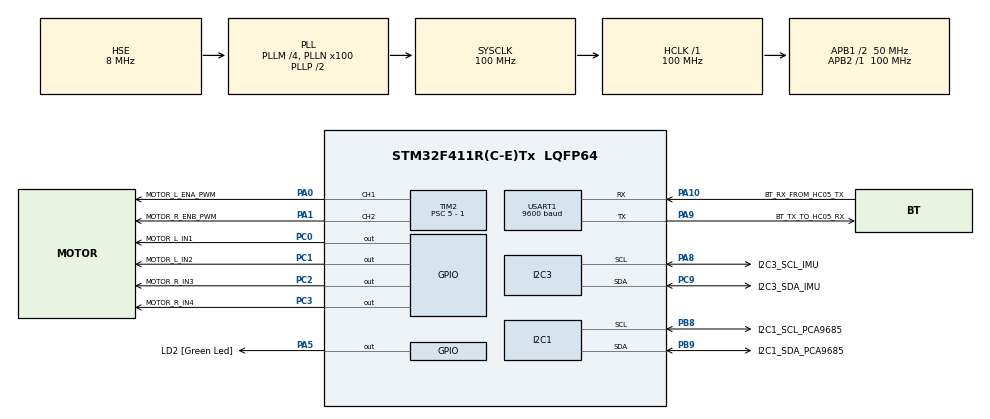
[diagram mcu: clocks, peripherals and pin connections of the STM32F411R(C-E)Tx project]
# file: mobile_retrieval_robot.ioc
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Dma.Request0=USART1_RX
Dma.USART1_RX.0.Direction=DMA_PERIPH_TO_MEMORY
Dma.USART1_RX.0.FIFOMode=DMA_FIFOMODE_DISABLE
Dma.USART1_RX.0.Instance=DMA2_Stream2
Dma.USART1_RX.0.MemDataAlignment=DMA_MDATAALIGN_BYTE
Dma.USART1_RX.0.MemInc=DMA_MINC_ENABLE
Dma.USART1_RX.0.Mode=DMA_CIRCULAR
Dma.USART1_RX.0.PeriphDataAlignment=DMA_PDATAALIGN_BYTE
Dma.USART1_RX.0.PeriphInc=DMA_PINC_DISABLE
Dma.USART1_RX.0.Priority=DMA_PRIORITY_MEDIUM
FREERTOS.Mutexes01=i2cMutex,Dynamic,NULL,Available;imuI2cMutex,Dynamic,NULL,Available;flashMutex,Dynamic,NULL,Available
FREERTOS.Queues01=armQueue,8,BluetoothArmCommand,0,Dynamic,NULL,NULL;driveQueue,4,BluetoothDriveCommand,0,Dynamic,NULL,NULL
FREERTOS.Tasks01=bluetoothTask,32,384,StartBluetoothTask,Default,NULL,Dynamic,NULL,NULL;armTask,24,384,StartArmTask,Default,NULL,Dynamic,NULL,NULL;driveTask,40,256,StartDriveTask,Default,NULL,Dynamic,NULL,NULL
FREERTOS.configTOTAL_HEAP_SIZE=17408
FREERTOS.configUSE_MALLOC_FAILED_HOOK=1
Mcu.Family=STM32F4
Mcu.Name=STM32F411R(C-E)Tx
Mcu.Package=LQFP64
NVIC.DMA2_Stream2_IRQn=true\:5\:0\:true\:false\:true\:true\:false\:true\:true
NVIC.PriorityGroup=NVIC_PRIORITYGROUP_4
NVIC.TIM1_UP_TIM10_IRQn=true\:15\:0\:false\:false\:true\:false\:false\:true\:true
NVIC.TimeBase=TIM1_UP_TIM10_IRQn
NVIC.TimeBaseIP=TIM10
NVIC.USART1_IRQn=true\:5\:0\:false\:false\:true\:true\:true\:true\:true
PA10.Mode=Asynchronous
PA10.Signal=USART1_RX
PA13.GPIO_Label=TMS
PA13.Mode=Serial_Wire
PA13.Signal=SYS_JTMS-SWDIO
PA14.GPIO_Label=TCK
PA14.Mode=Serial_Wire
PA14.Signal=SYS_JTCK-SWCLK
PA5.GPIO_Label=LD2 [Green Led]
PA5.Signal=GPIO_Output
PA8.GPIO_Label=I2C3_SCL_IMU
PA8.GPIO_PuPd=GPIO_PULLUP
PA8.Mode=I2C
PA8.Signal=I2C3_SCL
PA0-WKUP.GPIO_Label=MOTOR_L_ENA_PWM
PA0-WKUP.Signal=S_TIM2_CH1_ETR
PA1.GPIO_Label=MOTOR_R_ENB_PWM
PA1.Signal=S_TIM2_CH2
PA9.GPIO_Label=BT_TX_TO_HC05_RX
PA9.Mode=Asynchronous
PA9.Signal=USART1_TX
PA10.GPIO_Label=BT_RX_FROM_HC05_TX
PB3.GPIO_Label=SWO
PB3.Signal=SYS_JTDO-SWO
PB8.GPIO_Label=I2C1_SCL_PCA9685
PB8.Mode=I2C
PB8.Signal=I2C1_SCL
PB9.GPIO_Label=I2C1_SDA_PCA9685
PB9.Mode=I2C
PB9.Signal=I2C1_SDA
PC14-OSC32_IN.Signal=RCC_OSC32_IN
PC15-OSC32_OUT.Signal=RCC_OSC32_OUT
PC0.GPIO_Label=MOTOR_L_IN1
PC0.Signal=GPIO_Output
PC1.GPIO_Label=MOTOR_L_IN2
PC1.Signal=GPIO_Output
PC2.GPIO_Label=MOTOR_R_IN3
PC2.Signal=GPIO_Output
PC3.GPIO_Label=MOTOR_R_IN4
PC3.Signal=GPIO_Output
PC9.GPIO_Label=I2C3_SDA_IMU
PC9.GPIO_PuPd=GPIO_PULLUP
PC9.Mode=I2C
PC9.Signal=I2C3_SDA
PH0\ -\ OSC_IN.Mode=HSE-External-Clock-Source
PH0\ -\ OSC_IN.Signal=RCC_OSC_IN
PH1\ -\ OSC_OUT.Mode=HSE-External-Clock-Source
PH1\ -\ OSC_OUT.Signal=RCC_OSC_OUT
ProjectManager.HeapSize=0x200
ProjectManager.StackSize=0x400
ProjectManager.TargetToolchain=CMake
RCC.48MHZClocksFreq_Value=50000000
RCC.AHBFreq_Value=100000000
RCC.APB1CLKDivider=RCC_HCLK_DIV2
RCC.APB1Freq_Value=50000000
RCC.APB1TimFreq_Value=100000000
RCC.APB2Freq_Value=100000000
RCC.APB2TimFreq_Value=100000000
RCC.CortexFreq_Value=100000000
RCC.FLatency-AdvancedSettings=FLASH_LATENCY_3
RCC.HCLKFreq_Value=100000000
RCC.HSE_VALUE=8000000
RCC.HSI_VALUE=16000000
RCC.LSE_VALUE=32768
RCC.PLLM=4
RCC.PLLN=100
RCC.PLLSourceVirtual=RCC_PLLSOURCE_HSE
RCC.SYSCLKFreq_VALUE=100000000
RCC.SYSCLKSource=RCC_SYSCLKSOURCE_PLLCLK
RCC.VCOOutputFreq_Value=200000000
SH.S_TIM2_CH1_ETR.0=TIM2_CH1,PWM Generation1 CH1
SH.S_TIM2_CH2.0=TIM2_CH2,PWM Generation2 CH2
TIM2.AutoReloadPreload=TIM_AUTORELOAD_PRELOAD_ENABLE
TIM2.Channel-PWM\ Generation1\ CH1=TIM_CHANNEL_1
TIM2.Channel-PWM\ Generation2\ CH2=TIM_CHANNEL_2
TIM2.ClockDivision=TIM_CLOCKDIVISION_DIV1
TIM2.Period=1000 - 1
TIM2.Prescaler=5 - 1
USART1.BaudRate=9600
USART1.VirtualMode=VM_ASYNC
VP_FREERTOS_VS_CMSIS_V2.Mode=CMSIS_V2
VP_SYS_VS_tim10.Mode=TIM10
VP_TIM2_VS_ClockSourceINT.Mode=Internal
board=NUCLEO-F411RE

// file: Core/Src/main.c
/* USER CODE BEGIN Header */
/**
  ******************************************************************************
  * @file           : main.c
  * @brief          : Main program body
  ******************************************************************************
  * @attention
  *
  * Copyright (c) 2026 STMicroelectronics.
  * All rights reserved.
  *
  * This software is licensed under terms that can be found in the LICENSE file
  * in the root directory of this software component.
  * If no LICENSE file comes with this software, it is provided AS-IS.
  *
  ******************************************************************************
  */
/* USER CODE END Header */
#include "main.h"
#include "cmsis_os.h"
#include "dma.h"
#include "i2c.h"
#include "tim.h"
#include "usart.h"
#include "gpio.h"

/* USER CODE BEGIN Includes */
#include "drive_4wd.h"
#include "servo_driver.h"

/* USER CODE END Includes */

void SystemClock_Config(void);
void MX_FREERTOS_Init(void);

int main(void)
{

  /* MCU Configuration--------------------------------------------------------*/

  /* Reset of all peripherals, Initializes the Flash interface and the Systick. */
  HAL_Init();

  /* Configure the system clock */
  SystemClock_Config();

  /* Initialize all configured peripherals */
  MX_GPIO_Init();
  MX_DMA_Init();
  MX_I2C1_Init();
  MX_I2C3_Init();
  MX_USART1_UART_Init();
  MX_TIM2_Init();

  /* Init scheduler */
  osKernelInitialize();  /* Call init function for freertos objects (in cmsis_os2.c) */
  MX_FREERTOS_Init();

  /* Start scheduler */
  osKernelStart();

  /* We should never get here as control is now taken by the scheduler */

  /* Infinite loop */
  while (1)
  {

  }
}

void SystemClock_Config(void)
{
  RCC_OscInitTypeDef RCC_OscInitStruct = {0};
  RCC_ClkInitTypeDef RCC_ClkInitStruct = {0};

  /** Configure the main internal regulator output voltage
  */
  __HAL_RCC_PWR_CLK_ENABLE();
  __HAL_PWR_VOLTAGESCALING_CONFIG(PWR_REGULATOR_VOLTAGE_SCALE1);

  /** Initializes the RCC Oscillators according to the specified parameters
  * in the RCC_OscInitTypeDef structure.
  */
  RCC_OscInitStruct.OscillatorType = RCC_OSCILLATORTYPE_HSE;
  RCC_OscInitStruct.HSEState = RCC_HSE_BYPASS;
  RCC_OscInitStruct.PLL.PLLState = RCC_PLL_ON;
  RCC_OscInitStruct.PLL.PLLSource = RCC_PLLSOURCE_HSE;
  RCC_OscInitStruct.PLL.PLLM = 4;
  RCC_OscInitStruct.PLL.PLLN = 100;
  RCC_OscInitStruct.PLL.PLLP = RCC_PLLP_DIV2;
  RCC_OscInitStruct.PLL.PLLQ = 4;
  if (HAL_RCC_OscConfig(&RCC_OscInitStruct) != HAL_OK)
  {
    Error_Handler();
  }

  /** Initializes the CPU, AHB and APB buses clocks
  */
  RCC_ClkInitStruct.ClockType = RCC_CLOCKTYPE_HCLK|RCC_CLOCKTYPE_SYSCLK
                              |RCC_CLOCKTYPE_PCLK1|RCC_CLOCKTYPE_PCLK2;
  RCC_ClkInitStruct.SYSCLKSource = RCC_SYSCLKSOURCE_PLLCLK;
  RCC_ClkInitStruct.AHBCLKDivider = RCC_SYSCLK_DIV1;
  RCC_ClkInitStruct.APB1CLKDivider = RCC_HCLK_DIV2;
  RCC_ClkInitStruct.APB2CLKDivider = RCC_HCLK_DIV1;

  if (HAL_RCC_ClockConfig(&RCC_ClkInitStruct, FLASH_LATENCY_3) != HAL_OK)
  {
    Error_Handler();
  }
}

void HAL_TIM_PeriodElapsedCallback(TIM_HandleTypeDef *htim)
{
  if (htim->Instance == TIM10)
  {
    HAL_IncTick();
  }
}

void Error_Handler(void)
{
  /* USER CODE BEGIN Error_Handler_Debug */
  /* 치명적 오류가 나도 모터 PWM과 서보 출력이 남지 않게 먼저 정지한다. */
  Drive4WD_Stop();
  (void)ServoDriver_DisableAll();
  __disable_irq();
  while (1)
  {
  }
  /* USER CODE END Error_Handler_Debug */
}

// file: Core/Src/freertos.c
/* USER CODE BEGIN Header */
/**
 ******************************************************************************
 * File Name          : freertos.c
 * Description        : Code for freertos applications
 ******************************************************************************
 * @attention
 *
 * Copyright (c) 2026 STMicroelectronics.
 * All rights reserved.
 *
 * This software is licensed under terms that can be found in the LICENSE file
 * in the root directory of this software component.
 * If no LICENSE file comes with this software, it is provided AS-IS.
 *
 ******************************************************************************
 */
/* USER CODE END Header */

#include "FreeRTOS.h"
#include "cmsis_os.h"
#include "main.h"
#include "task.h"

/* USER CODE BEGIN Includes */
#include <string.h>

#include "bluetooth.h"
#include "drive_4wd.h"
#include "i2c.h"
#include "imu.h"
#include "robot_arm.h"
#include "servo_driver.h"
#include "teaching_storage.h"
#include "tim.h"
#include "usart.h"

/* USER CODE END Includes */

/* USER CODE BEGIN PD */

#define IMU_RETRY_INTERVAL_MS  (1000U)
#define ARM_DRIVER_RETRY_INTERVAL_MS (1000U)
#define SETTINGS_SERIALIZED_SIZE (53U)
#define SETTINGS_WRITE_PART_SIZE (10U)
#define SETTINGS_READ_PART_SIZE  (8U)
#define SETTINGS_WRITE_PART_COUNT (6U)
#define SETTINGS_READ_PART_COUNT  (7U)
#define SETTINGS_TRAVEL_POSE_OFFSET (48U)
#define PID_KP_MAX_MILLI          (2550L)
#define PID_GAIN_MAX_MILLI        (100000L)
#define PID_KP_STEP_MILLI         (10L)
#define STATUS_INTERVAL_MS        (250U)
#define TRAVEL_SEQUENCE_ID        (9U)
#define TEACHING_NAME_UPLOAD_PART_SIZE (8U)
#define TEACHING_NAME_READ_PART_SIZE   (7U)

#define SETTINGS_RESULT_OK         (0U)
#define SETTINGS_RESULT_INCOMPLETE (1U)
#define SETTINGS_RESULT_CRC        (2U)
#define SETTINGS_RESULT_INVALID    (3U)
#define SETTINGS_RESULT_ARM_ACTIVE (4U)
#define SETTINGS_RESULT_FLASH      (5U)
#define SETTINGS_RESULT_PID_ACTIVE (6U)
#define SETTINGS_RESULT_PID_INVALID (7U)

#define PID_TOGGLE_RESULT_OK          (0U)
#define PID_TOGGLE_RESULT_UNAVAILABLE (1U)
#define PID_TOGGLE_RESULT_INVALID_GAINS (2U)
#define IMU_CALIBRATION_RESULT_OK          (0U)
#define IMU_CALIBRATION_RESULT_UNAVAILABLE (1U)
#define IMU_CALIBRATION_RESULT_BUSY        (2U)
#define IMU_CALIBRATION_RESULT_READ        (3U)

/* USER CODE END PD */

/* USER CODE BEGIN Variables */

static osThreadId_t imuTaskHandle;
static const osThreadAttr_t imuTask_attributes = {
    .name = "imuTask",
    .stack_size = 512 * 4,
    .priority = (osPriority_t)osPriorityBelowNormal,
};

static osThreadId_t statusTaskHandle;
static const osThreadAttr_t statusTask_attributes = {
    .name = "statusTask",
    .stack_size = 256 * 4,
    .priority = (osPriority_t)osPriorityLow,
};

static uint8_t settings_upload[SETTINGS_SERIALIZED_SIZE];
static uint8_t settings_upload_parts;
static volatile uint8_t imu_calibration_request_id;

/* USER CODE END Variables */
/* Definitions for bluetoothTask */
osThreadId_t bluetoothTaskHandle;
const osThreadAttr_t bluetoothTask_attributes = {
    .name = "bluetoothTask",
    .stack_size = 384 * 4,
    .priority = (osPriority_t)osPriorityAboveNormal,
};
/* Definitions for armTask */
osThreadId_t armTaskHandle;
const osThreadAttr_t armTask_attributes = {
    .name = "armTask",
    .stack_size = 384 * 4,
    .priority = (osPriority_t)osPriorityNormal,
};
/* Definitions for driveTask */
osThreadId_t driveTaskHandle;
const osThreadAttr_t driveTask_attributes = {
    .name = "driveTask",
    .stack_size = 256 * 4,
    .priority = (osPriority_t)osPriorityHigh,
};
/* Definitions for armQueue */
osMessageQueueId_t armQueueHandle;
const osMessageQueueAttr_t armQueue_attributes = {.name = "armQueue"};
/* Definitions for driveQueue */
osMessageQueueId_t driveQueueHandle;
const osMessageQueueAttr_t driveQueue_attributes = {.name = "driveQueue"};
/* Definitions for i2cMutex */
osMutexId_t i2cMutexHandle;
const osMutexAttr_t i2cMutex_attributes = {.name = "i2cMutex"};
/* Definitions for imuI2cMutex */
osMutexId_t imuI2cMutexHandle;
const osMutexAttr_t imuI2cMutex_attributes = {.name = "imuI2cMutex"};
/* Definitions for flashMutex */
osMutexId_t flashMutexHandle;
const osMutexAttr_t flashMutex_attributes = {.name = "flashMutex"};

/* USER CODE BEGIN FunctionPrototypes */

static void StartImuTask(void *argument);
static void StartStatusTask(void *argument);
static void HandleSettingsCommand(const BluetoothArmCommand *command);
static void SerializeSettings(const RobotSettings *settings, uint8_t *data);
static void DeserializeSettings(const uint8_t *data, RobotSettings *settings);
static uint16_t CalculateSettingsCrc(const uint8_t *data, uint8_t length);

/* USER CODE END FunctionPrototypes */

void StartBluetoothTask(void *argument);
void StartArmTask(void *argument);
void StartDriveTask(void *argument);

void MX_FREERTOS_Init(void); /* (MISRA C 2004 rule 8.1) */

/* Hook prototypes */
void vApplicationMallocFailedHook(void);
void vApplicationStackOverflowHook(TaskHandle_t task, char *task_name);

/* USER CODE BEGIN 5 */
void vApplicationMallocFailedHook(void) {
  /* vApplicationMallocFailedHook() will only be called if
  configUSE_MALLOC_FAILED_HOOK is set to 1 in FreeRTOSConfig.h. It is a hook
  function that will get called if a call to pvPortMalloc() fails.
  pvPortMalloc() is called internally by the kernel whenever a task, queue,
  timer or semaphore is created. It is also called by various parts of the
  demo application. If heap_1.c or heap_2.c are used, then the size of the
  heap available to pvPortMalloc() is defined by configTOTAL_HEAP_SIZE in
  FreeRTOSConfig.h, and the xPortGetFreeHeapSize() API function can be used
  to query the size of free heap space that remains (although it does not
  provide information on how the remaining heap might be fragmented). */
  Error_Handler();
}

void vApplicationStackOverflowHook(TaskHandle_t task, char *task_name) {
  /* 태스크 정보는 디버거에서 확인하고 모든 출력을 안전하게 정지한다. */
  (void)task;
  (void)task_name;
  Error_Handler();
}
/* USER CODE END 5 */

void MX_FREERTOS_Init(void) {
  /* Create the mutex(es) */
  /* creation of i2cMutex */
  i2cMutexHandle = osMutexNew(&i2cMutex_attributes);
  ServoDriver_SetI2CMutex(i2cMutexHandle);

  /* creation of imuI2cMutex */
  imuI2cMutexHandle = osMutexNew(&imuI2cMutex_attributes);

  /* creation of flashMutex */
  flashMutexHandle = osMutexNew(&flashMutex_attributes);

  /* Create the queue(s) */
  /* creation of armQueue */
  armQueueHandle =
      osMessageQueueNew(8,
                        sizeof(BluetoothArmCommand),
                        &armQueue_attributes);

  /* creation of driveQueue */
  driveQueueHandle =
      osMessageQueueNew(4,
                        sizeof(BluetoothDriveCommand),
                        &driveQueue_attributes);

  /* Create the thread(s) */
  /* creation of bluetoothTask */
  bluetoothTaskHandle =
      osThreadNew(StartBluetoothTask, NULL, &bluetoothTask_attributes);

  /* creation of armTask */
  armTaskHandle = osThreadNew(StartArmTask, NULL, &armTask_attributes);

  /* creation of driveTask */
  driveTaskHandle = osThreadNew(StartDriveTask, NULL, &driveTask_attributes);

  /* USER CODE BEGIN RTOS_THREADS */
  imuTaskHandle = osThreadNew(StartImuTask, NULL, &imuTask_attributes);
  statusTaskHandle = osThreadNew(StartStatusTask, NULL, &statusTask_attributes);

  /* RTOS 객체 생성 실패 상태로 장치를 구동하지 않는다. */
  if ((i2cMutexHandle == NULL) ||
      (imuI2cMutexHandle == NULL) ||
      (flashMutexHandle == NULL) ||
      (armQueueHandle == NULL) ||
      (driveQueueHandle == NULL) ||
      (bluetoothTaskHandle == NULL) ||
      (armTaskHandle == NULL) ||
      (driveTaskHandle == NULL) ||
      (imuTaskHandle == NULL) ||
      (statusTaskHandle == NULL)) {
    Error_Handler();
  }
  /* USER CODE END RTOS_THREADS */

}

void StartBluetoothTask(void *argument) {
  /* USER CODE BEGIN StartBluetoothTask */
  (void)argument;

  if (Bluetooth_Init(&huart1) != HAL_OK) {
    Error_Handler();
  }

  /* DMA에 새로 들어온 바이트만 짧은 주기로 파싱한다. */
  for (;;) {
    Bluetooth_Process(armQueueHandle, driveQueueHandle);
    osDelay(5U);
  }
  /* USER CODE END StartBluetoothTask */
}

void StartArmTask(void *argument) {
  /* USER CODE BEGIN StartArmTask */
  BluetoothArmCommand command;
  const TeachingSequence *sequence;
  HAL_StatusTypeDef status;
  RobotArmResult arm_result;
  RobotSettings settings;
  uint32_t arm_retry_tick;
  uint8_t angles[3];
  uint8_t name_part[TEACHING_NAME_UPLOAD_PART_SIZE];
  uint8_t name_response[TEACHING_NAME_READ_PART_SIZE];
  uint8_t name_offset;
  uint8_t name_part_index;
  uint8_t name_part_length;
  uint8_t waypoint_index;
  uint8_t arm_driver_ready;
  uint8_t active_arm_transaction;
  uint8_t active_arm_command;
  uint8_t teaching_play_sequence;
  uint8_t preview_joint;
  uint8_t preview_request_id;
  uint16_t preview_pulse_us;
  RobotArmResult preview_result;

  (void)argument;
  TeachingStorage_Init();

  /*
   * PCA9685 전원이 MCU보다 늦게 들어와도 Bluetooth와 설정 조회는 유지한다.
   * 초기화에 실패한 동안에는 로봇팔 명령에 드라이버 오류를 응답하고 재시도한다.
   */
  arm_driver_ready =
      (uint8_t)(RobotArm_Init(&hi2c1) == HAL_OK);
  arm_retry_tick = HAL_GetTick();
  active_arm_transaction = 0U;
  active_arm_command = BLUETOOTH_ARM_MOVE;
  teaching_play_sequence = 0U;
  TeachingStorage_GetSettings(&settings);
  (void)Drive4WD_SetPidGains(settings.pid_kp_milli,
                             settings.pid_ki_milli,
                             settings.pid_kd_milli);
  if (RobotArm_SetCalibrations(settings.servo_pulse_us) != ROBOT_ARM_OK) {
    /* 손상된 보정값은 안전한 펌웨어 기본값으로 바꿔 앱 조회값과 맞춘다. */
    TeachingStorage_ResetServoCalibrations();
    TeachingStorage_GetSettings(&settings);
    if (RobotArm_SetCalibrations(settings.servo_pulse_us) != ROBOT_ARM_OK) {
      Error_Handler();
    }
  }

  for (;;) {
    if ((arm_driver_ready == 0U) &&
        ((HAL_GetTick() - arm_retry_tick) >=
         ARM_DRIVER_RETRY_INTERVAL_MS)) {
      arm_retry_tick = HAL_GetTick();
      if (RobotArm_Init(&hi2c1) == HAL_OK) {
        TeachingStorage_GetSettings(&settings);
        if (RobotArm_SetCalibrations(settings.servo_pulse_us) ==
            ROBOT_ARM_OK) {
          arm_driver_ready = 1U;
        }
      }
    }

    if (osMessageQueueGet(armQueueHandle,
                          &command,
                          NULL,
                          5U) == osOK) {
      if (command.mode == BLUETOOTH_MODE_ARM) {
        if (teaching_play_sequence != 0U) {
          (void)Bluetooth_SendTeachingAck(
              2U, teaching_play_sequence, 0U, 0U);
          (void)RobotArm_TakeSpeedWarning();
          teaching_play_sequence = 0U;
        }
        if (command.data[6] == BLUETOOTH_ARM_DISABLE) {
          arm_result = RobotArm_Disable();
          Drive4WD_SetArmMotionInhibit(0U);
        } else {
          /* 관절을 움직이기 전에 차량을 멈추고 주행 명령을 차단한다. */
          Drive4WD_SetArmMotionInhibit(1U);

          if (arm_driver_ready == 0U) {
            arm_result = ROBOT_ARM_DRIVER_ERROR;
          } else if (RobotArm_SetSpeedPercent(command.data[8]) !=
                     ROBOT_ARM_OK) {
            arm_result = ROBOT_ARM_INVALID;
          } else if (command.data[6] == BLUETOOTH_ARM_ENABLE_ORIGIN) {
            arm_result = RobotArm_EnableOrigin(command.data);
          } else if (command.data[6] ==
                     BLUETOOTH_ARM_TRAVEL_KEEP_GRIPPER) {
            sequence = TeachingStorage_Get(TRAVEL_SEQUENCE_ID);
            arm_result = RobotArm_Play(sequence, 1U);
          } else {
            arm_result = RobotArm_SetPose(command.data);
          }

          if (arm_result != ROBOT_ARM_OK) {
            Drive4WD_SetArmMotionInhibit(0U);
          }
        }

        if ((arm_result == ROBOT_ARM_OK) &&
            (command.data[6] != BLUETOOTH_ARM_DISABLE)) {
          active_arm_transaction = command.data[7];
          active_arm_command =
              (command.data[6] == BLUETOOTH_ARM_TRAVEL_KEEP_GRIPPER)
                  ? BLUETOOTH_ARM_TRAVEL_KEEP_GRIPPER
                  : BLUETOOTH_ARM_MOVE;
        } else if (command.data[6] == BLUETOOTH_ARM_DISABLE) {
          active_arm_transaction = 0U;
          active_arm_command = BLUETOOTH_ARM_MOVE;
        }

        /* 활성화/비활성화와 실패한 이동은 앱에서 상태를 알 수 있게 응답한다. */
        if (((command.data[6] != BLUETOOTH_ARM_MOVE) &&
             (command.data[6] != BLUETOOTH_ARM_TRAVEL_KEEP_GRIPPER)) ||
            (arm_result != ROBOT_ARM_OK)) {
          (void)Bluetooth_SendArmAck(
              command.data[6],
              (uint8_t)(arm_result == ROBOT_ARM_OK),
              (uint8_t)arm_result,
              command.data[7]);
        }
      } else if (command.mode == BLUETOOTH_MODE_TEACHING) {
        status = HAL_ERROR;

        if ((command.data[0] == 2U) ||
            (command.data[0] == BLUETOOTH_TEACHING_PREVIEW)) {
          Drive4WD_SetArmMotionInhibit(1U);
          sequence = (command.data[0] == BLUETOOTH_TEACHING_PREVIEW)
                         ? TeachingStorage_GetUpload(command.data[1])
                         : TeachingStorage_Get(command.data[1]);
          status = ((RobotArm_SetSpeedPercent(command.data[2]) ==
                     ROBOT_ARM_OK) &&
                    (RobotArm_Play(
                         sequence,
                         (uint8_t)(command.data[1] == TRAVEL_SEQUENCE_ID)) ==
                     ROBOT_ARM_OK))
                       ? HAL_OK
                       : HAL_ERROR;
          if (status == HAL_OK) {
            teaching_play_sequence = command.data[1];
          } else {
            Drive4WD_SetArmMotionInhibit(0U);
            (void)Bluetooth_SendTeachingAck(
                2U, command.data[1], 0U, 0U);
          }
        } else if (command.data[0] == 3U) {
          RobotArm_Stop();
          (void)RobotArm_TakeSpeedWarning();
          Drive4WD_SetStorageInhibit(1U);
          if (osMutexAcquire(flashMutexHandle, osWaitForever) == osOK) {
            status = TeachingStorage_Reset(command.data[1]);
            (void)osMutexRelease(flashMutexHandle);
          }
          Drive4WD_SetStorageInhibit(0U);
          (void)Bluetooth_SendTeachingAck(
              3U,
              command.data[1],
              (uint8_t)(status == HAL_OK),
              0U);
        } else if ((command.data[0] == 4U) &&
                   (command.data[1] == 1U)) {
          /* 재생 중인 RAM 시퀀스를 업로드가 바꾸지 않게 먼저 중지한다. */
          RobotArm_Stop();
          (void)RobotArm_TakeSpeedWarning();
          status = TeachingStorage_BeginUpload(command.data[2],
                                                command.data[3],
                                                command.data[4]);
        } else if ((command.data[0] == 4U) &&
                   ((command.data[1] == 2U) ||
                    (command.data[1] == 3U))) {
          angles[0] = command.data[4];
          angles[1] = command.data[5];
          angles[2] = command.data[6];
          status = TeachingStorage_WriteHalf(
              command.data[2],
              command.data[3],
              (uint8_t)(command.data[1] == 3U),
              angles);
        } else if ((command.data[0] == 4U) &&
                   (command.data[1] == 5U)) {
          memcpy(name_part,
                 &command.data[4],
                 TEACHING_NAME_UPLOAD_PART_SIZE);
          status = TeachingStorage_WriteNamePart(command.data[2],
                                                 command.data[3],
                                                 name_part);
        } else if ((command.data[0] == 4U) &&
                   (command.data[1] == 4U)) {
          RobotArm_Stop();
          (void)RobotArm_TakeSpeedWarning();
          Drive4WD_SetStorageInhibit(1U);
          if (osMutexAcquire(flashMutexHandle, osWaitForever) == osOK) {
            status = TeachingStorage_Commit(command.data[2]);
            (void)osMutexRelease(flashMutexHandle);
          }
          Drive4WD_SetStorageInhibit(0U);
          (void)Bluetooth_SendTeachingAck(
              4U,
              command.data[2],
              (uint8_t)(status == HAL_OK),
              0U);
        } else if (command.data[0] == BLUETOOTH_TEACHING_GET_NAME) {
          sequence = TeachingStorage_Get(command.data[1]);
          if (sequence != NULL) {
            for (name_part_index = 0U;
                 (uint8_t)(name_part_index * TEACHING_NAME_READ_PART_SIZE) <
                     sequence->name_length;
                 name_part_index++) {
              name_offset = (uint8_t)(name_part_index *
                                      TEACHING_NAME_READ_PART_SIZE);
              name_part_length =
                  (uint8_t)(sequence->name_length - name_offset);
              if (name_part_length > TEACHING_NAME_READ_PART_SIZE) {
                name_part_length = TEACHING_NAME_READ_PART_SIZE;
              }
              memset(name_response, 0, sizeof(name_response));
              memcpy(name_response,
                     &sequence->name[name_offset],
                     name_part_length);
              (void)Bluetooth_SendTeachingNamePart(
                  command.data[1],
                  name_part_index,
                  sequence->name_length,
                  command.data[2],
                   name_response);
            }
          }
        } else if (command.data[0] ==
                   BLUETOOTH_TEACHING_GET_SEQUENCE) {
          sequence = TeachingStorage_Get(command.data[1]);
          if (sequence != NULL) {
            (void)Bluetooth_SendTeachingSequenceMeta(command.data[1],
                                                     sequence->count,
                                                     command.data[2]);
            for (waypoint_index = 0U;
                 waypoint_index < sequence->count;
                 waypoint_index++) {
              (void)Bluetooth_SendTeachingWaypoint(
                  command.data[1],
                  waypoint_index,
                  sequence->waypoints[waypoint_index].angles,
                  command.data[2]);
            }
          }
        }
      } else if (command.mode == BLUETOOTH_MODE_SETTINGS) {
        HandleSettingsCommand(&command);
      }
    }

    if (arm_driver_ready != 0U) {
      RobotArm_Update();
      if (RobotArm_TakePreviewResult(&preview_joint,
                                     &preview_pulse_us,
                                     &preview_request_id,
                                     &preview_result) != 0U) {
        if (preview_result != ROBOT_ARM_OK) {
          Drive4WD_SetArmMotionInhibit(0U);
        }
        (void)Bluetooth_SendPreviewResult(
            preview_joint,
            (uint8_t)(preview_result == ROBOT_ARM_OK),
            (uint8_t)preview_result,
            preview_pulse_us,
            preview_request_id);
      }
      if (RobotArm_TakePoseReached() != 0U) {
        if (active_arm_transaction != 0U) {
          uint8_t arm_ack_reason =
              (RobotArm_TakeSpeedWarning() != 0U)
                  ? ROBOT_ARM_ACK_SPEED_WARNING
                  : ROBOT_ARM_OK;
          (void)Bluetooth_SendArmAck(active_arm_command,
                                     1U,
                                     arm_ack_reason,
                                     active_arm_transaction);
          active_arm_transaction = 0U;
          active_arm_command = BLUETOOTH_ARM_MOVE;
        }
      }
      if ((teaching_play_sequence != 0U) &&
          (RobotArm_IsMotionActive() == 0U)) {
        (void)Bluetooth_SendTeachingAck(
            2U,
            teaching_play_sequence,
            1U,
            RobotArm_TakeSpeedWarning());
        teaching_play_sequence = 0U;
      }
      if (RobotArm_IsMotionActive() == 0U) {
        Drive4WD_SetArmMotionInhibit(0U);
      }
    }
  }
  /* USER CODE END StartArmTask */
}

void StartDriveTask(void *argument) {
  /* USER CODE BEGIN StartDriveTask */
  BluetoothDriveCommand command;
  IMU_Data imu_data;
  uint32_t processed_imu_tick = 0U;

  (void)argument;
  if (Drive4WD_Init(&htim2) != HAL_OK) {
    Error_Handler();
  }

  for (;;) {
    if (osMessageQueueGet(driveQueueHandle,
                          &command,
                          NULL,
                          20U) == osOK) {
      Drive4WD_Apply(&command);
      if (command.control != BLUETOOTH_DRIVE_NORMAL) {
        (void)Bluetooth_SendDriveAck(command.control, 1U, 0U);
      }
    }
    if ((IMU_GetLatest(&imu_data) != 0U) &&
        (imu_data.valid != 0U) &&
        (imu_data.calibrated != 0U) &&
        (imu_data.sample_tick_ms != processed_imu_tick)) {
      processed_imu_tick = imu_data.sample_tick_ms;
      Drive4WD_ProcessYaw(imu_data.yaw_deg, imu_data.sample_tick_ms);
    }
    Drive4WD_CheckTimeout();
  }
  /* USER CODE END StartDriveTask */
}

/* USER CODE BEGIN Application */

/* MPU6050 연결을 재시도하고 성공하면 영점 보정 후 20 ms 주기로 읽는다. */
static void StartImuTask(void *argument) {
  HAL_StatusTypeDef status;
  uint8_t consecutive_errors;
  uint8_t request_id;
  uint32_t next_tick;

  (void)argument;

  /*
   * 센서가 연결되지 않아도 기존 로봇 제어는 계속 실행한다.
   * 연결이 확인되면 차량을 정지하고 자이로 영점을 한 번 보정한다.
   */
  for (;;) {
    Drive4WD_SetImuAvailable(0U);
    if (IMU_Init(&hi2c3, imuI2cMutexHandle) != HAL_OK) {
      request_id = imu_calibration_request_id;
      if (request_id != 0U) {
        imu_calibration_request_id = 0U;
        (void)Bluetooth_SendImuCalibrationAck(
            0U, IMU_CALIBRATION_RESULT_UNAVAILABLE, request_id);
      }
      osDelay(IMU_RETRY_INTERVAL_MS);
      continue;
    }

    Drive4WD_SetImuCalibrationInhibit(1U);
    if (IMU_CalibrateGyro() != HAL_OK) {
      Drive4WD_SetImuCalibrationInhibit(0U);
      request_id = imu_calibration_request_id;
      if (request_id != 0U) {
        imu_calibration_request_id = 0U;
        (void)Bluetooth_SendImuCalibrationAck(
            0U, IMU_CALIBRATION_RESULT_READ, request_id);
      }
      osDelay(IMU_RETRY_INTERVAL_MS);
      continue;
    }
    Drive4WD_SetImuCalibrationInhibit(0U);
    Drive4WD_SetImuAvailable(1U);

    consecutive_errors = 0U;
    next_tick = osKernelGetTickCount();
    while (consecutive_errors < 3U) {
      request_id = imu_calibration_request_id;
      if (request_id != 0U) {
        Drive4WD_SetImuAvailable(0U);
        Drive4WD_SetImuCalibrationInhibit(1U);
        status = IMU_CalibrateGyro();
        Drive4WD_SetImuCalibrationInhibit(0U);
        imu_calibration_request_id = 0U;
        if (status != HAL_OK) {
          (void)Bluetooth_SendImuCalibrationAck(
              0U, IMU_CALIBRATION_RESULT_READ, request_id);
          break;
        }
        Drive4WD_SetImuAvailable(1U);
        consecutive_errors = 0U;
        next_tick = osKernelGetTickCount();
        (void)Bluetooth_SendImuCalibrationAck(
            1U, IMU_CALIBRATION_RESULT_OK, request_id);
        continue;
      }

      if (IMU_Read() == HAL_OK) {
        consecutive_errors = 0U;
      } else {
        consecutive_errors++;
      }
      next_tick += IMU_SAMPLE_INTERVAL_MS;
      (void)osDelayUntil(next_tick);
    }
    Drive4WD_SetImuAvailable(0U);
  }
}

/* 상태 패킷의 float 값을 signed 16비트 고정소수점 범위로 제한한다. */
static int16_t ScaleStatusValue(float value, float scale) {
  float scaled = value * scale;

  if (scaled > 32767.0f) {
    return 32767;
  }
  if (scaled < -32768.0f) {
    return -32768;
  }
  return (int16_t)scaled;
}

/*
 * 250 ms마다 PID와 IMU 상태를 번갈아 보내 UART 부하를 제한한다.
 * 9600 baud의 블로킹 전송은 Low 우선순위 태스크에서만 수행한다.
 */
static void StartStatusTask(void *argument) {
  DrivePidStatus pid;
  IMU_Data imu;
  uint8_t send_imu = 0U;
  uint8_t flags;

  (void)argument;
  for (;;) {
    if (send_imu == 0U) {
      Drive4WD_GetPidStatus(&pid);
      flags = (uint8_t)((pid.command_active != 0U ? 1U : 0U) |
                        (pid.pid_enabled != 0U ? 2U : 0U) |
                        (pid.pid_running != 0U ? 4U : 0U) |
                        (pid.reverse != 0U ? 8U : 0U) |
                        (pid.target_updated != 0U ? 16U : 0U) |
                        (pid.imu_available != 0U ? 32U : 0U));
      (void)Bluetooth_SendPidStatus(
          flags,
          ScaleStatusValue(pid.target_yaw_deg, 100.0f),
          ScaleStatusValue(pid.current_yaw_deg, 100.0f),
          ScaleStatusValue(pid.error_deg, 100.0f),
          ScaleStatusValue(pid.output, 100.0f),
          pid.left_pwm,
          pid.right_pwm);
    } else if (IMU_GetLatest(&imu) != 0U) {
      flags = (uint8_t)((imu.initialized != 0U ? 1U : 0U) |
                        (imu.calibrated != 0U ? 2U : 0U) |
                        (imu.valid != 0U ? 4U : 0U));
      (void)Bluetooth_SendImuStatus(
          flags,
          ScaleStatusValue(imu.temperature_c, 100.0f),
          ScaleStatusValue(imu.gyro_z_dps, 100.0f),
          ScaleStatusValue(imu.yaw_deg, 100.0f),
          imu.error_count);
    }
    send_imu ^= 1U;
    osDelay(STATUS_INTERVAL_MS);
  }
}

/* CPU 정렬에 의존하지 않고 signed 32비트를 Little-endian으로 기록한다. */
static void WriteInt32LittleEndian(uint8_t *data, int32_t value) {
  uint32_t bits = (uint32_t)value;

  data[0] = (uint8_t)bits;
  data[1] = (uint8_t)(bits >> 8U);
  data[2] = (uint8_t)(bits >> 16U);
  data[3] = (uint8_t)(bits >> 24U);
}

/* Little-endian 네 바이트를 signed 32비트 값으로 읽는다. */
static int32_t ReadInt32LittleEndian(const uint8_t *data) {
  uint32_t bits = (uint32_t)data[0] |
                  ((uint32_t)data[1] << 8U) |
                  ((uint32_t)data[2] << 16U) |
                  ((uint32_t)data[3] << 24U);

  return (int32_t)bits;
}

/* unsigned 16비트를 Little-endian 두 바이트로 기록한다. */
static void WriteUInt16LittleEndian(uint8_t *data, uint16_t value) {
  data[0] = (uint8_t)value;
  data[1] = (uint8_t)(value >> 8U);
}

/* Little-endian 두 바이트를 unsigned 16비트 값으로 읽는다. */
static uint16_t ReadUInt16LittleEndian(const uint8_t *data) {
  return (uint16_t)data[0] |
         ((uint16_t)data[1] << 8U);
}

/* PID, 3점 보정값과 5관절 이동 자세를 고정 53바이트 배열로 만든다. */
static void SerializeSettings(const RobotSettings *settings, uint8_t *data) {
  uint8_t joint;
  uint8_t point;

  WriteInt32LittleEndian(&data[0], settings->pid_kp_milli);
  WriteInt32LittleEndian(&data[4], settings->pid_ki_milli);
  WriteInt32LittleEndian(&data[8], settings->pid_kd_milli);
  for (joint = 0U; joint < ROBOT_SETTINGS_SERVO_COUNT; joint++) {
    for (point = 0U; point < ROBOT_SETTINGS_PULSE_COUNT; point++) {
      WriteUInt16LittleEndian(
          &data[12U + (joint * ROBOT_SETTINGS_PULSE_COUNT * 2U) +
                (point * 2U)],
          settings->servo_pulse_us[joint][point]);
    }
  }
  memcpy(&data[SETTINGS_TRAVEL_POSE_OFFSET],
         settings->travel_pose_angles,
         ROBOT_SETTINGS_TRAVEL_JOINT_COUNT);
}

/* 앱에서 받은 53바이트 배열을 펌웨어 설정 구조체로 복원한다. */
static void DeserializeSettings(const uint8_t *data, RobotSettings *settings) {
  uint8_t joint;
  uint8_t point;

  memset(settings, 0, sizeof(*settings));
  settings->pid_kp_milli = ReadInt32LittleEndian(&data[0]);
  settings->pid_ki_milli = ReadInt32LittleEndian(&data[4]);
  settings->pid_kd_milli = ReadInt32LittleEndian(&data[8]);
  for (joint = 0U; joint < ROBOT_SETTINGS_SERVO_COUNT; joint++) {
    for (point = 0U; point < ROBOT_SETTINGS_PULSE_COUNT; point++) {
      settings->servo_pulse_us[joint][point] =
          ReadUInt16LittleEndian(
              &data[12U + (joint * ROBOT_SETTINGS_PULSE_COUNT * 2U) +
                    (point * 2U)]);
    }
  }

  /* Gripper 0도는 앱에서 설정하지 않고 열림과 닫힘의 평균을 사용한다. */
  settings->servo_pulse_us[ROBOT_ARM_GRIPPER_INDEX][1] =
      (uint16_t)((settings->servo_pulse_us[ROBOT_ARM_GRIPPER_INDEX][0] +
                  settings->servo_pulse_us[ROBOT_ARM_GRIPPER_INDEX][2]) /
                 2U);
  memcpy(settings->travel_pose_angles,
         &data[SETTINGS_TRAVEL_POSE_OFFSET],
         ROBOT_SETTINGS_TRAVEL_JOINT_COUNT);
}

/* 설정 조각 COMMIT에서 사용하는 CRC-16/CCITT를 계산한다. */
static uint16_t CalculateSettingsCrc(const uint8_t *data, uint8_t length) {
  uint16_t crc = 0xFFFFU;
  uint8_t index;
  uint8_t bit;

  for (index = 0U; index < length; index++) {
    crc ^= (uint16_t)data[index] << 8U;
    for (bit = 0U; bit < 8U; bit++) {
      crc = ((crc & 0x8000U) != 0U)
                ? (uint16_t)((crc << 1U) ^ 0x1021U)
                : (uint16_t)(crc << 1U);
    }
  }

  return crc;
}

/* Mode 3 조회·조각 저장·미리보기 명령을 태스크 문맥에서 처리한다. */
static void HandleSettingsCommand(const BluetoothArmCommand *command) {
  IMU_Data imu;
  RobotSettings settings;
  RobotSettings previous;
  RobotArmResult arm_result;
  HAL_StatusTypeDef status;
  uint16_t expected_crc;
  uint16_t received_crc;
  uint8_t read_data[SETTINGS_READ_PART_SIZE];
  uint8_t part;
  uint8_t offset;
  uint8_t length;
  uint8_t calibrations_changed;
  uint8_t pid_changed;
  uint8_t travel_joint;
  uint8_t travel_pose_valid;
  uint8_t result = SETTINGS_RESULT_INVALID;

  if (command->data[0] == BLUETOOTH_SETTINGS_IMU_CALIBRATE) {
    uint8_t reason = IMU_CALIBRATION_RESULT_OK;
    if ((IMU_GetLatest(&imu) == 0U) || (imu.initialized == 0U)) {
      reason = IMU_CALIBRATION_RESULT_UNAVAILABLE;
    } else if (imu_calibration_request_id != 0U) {
      reason = IMU_CALIBRATION_RESULT_BUSY;
    } else {
      imu_calibration_request_id = command->data[1];
      return;
    }
    (void)Bluetooth_SendImuCalibrationAck(0U,
                                          reason,
                                          command->data[1]);
    return;
  }

  if (command->data[0] == BLUETOOTH_SETTINGS_PID_ENABLE) {
    DrivePidResult pid_result =
        Drive4WD_SetPidEnabled(command->data[1]);
    uint8_t reason = PID_TOGGLE_RESULT_OK;
    if (pid_result == DRIVE_PID_UNAVAILABLE) {
      reason = PID_TOGGLE_RESULT_UNAVAILABLE;
    } else if (pid_result == DRIVE_PID_INVALID_GAINS) {
      reason = PID_TOGGLE_RESULT_INVALID_GAINS;
    }
    (void)Bluetooth_SendPidAck(
        (uint8_t)(pid_result == DRIVE_PID_OK),
        Drive4WD_IsPidEnabled(),
        reason,
        command->data[2]);
    return;
  }

  if (command->data[0] == BLUETOOTH_SETTINGS_PREVIEW) {
    uint16_t pulse_us = (uint16_t)command->data[2] |
                        ((uint16_t)command->data[3] << 8U);
    Drive4WD_SetArmMotionInhibit(1U);
    arm_result = RobotArm_PreviewPulse(command->data[1],
                                       pulse_us,
                                       command->data[4],
                                       command->data[5]);
    if (arm_result != ROBOT_ARM_OK) {
      Drive4WD_SetArmMotionInhibit(0U);
      (void)Bluetooth_SendPreviewResult(command->data[1],
                                        0U,
                                        (uint8_t)arm_result,
                                        pulse_us,
                                        command->data[5]);
    }
    return;
  }

  if (command->data[0] == BLUETOOTH_SETTINGS_PREVIEW_STOP) {
    RobotArm_StopPreview();
    Drive4WD_SetArmMotionInhibit(0U);
    return;
  }

  if (command->data[0] == BLUETOOTH_SETTINGS_GET) {
    settings_upload_parts = 0U;
    TeachingStorage_GetSettings(&settings);
    SerializeSettings(&settings, settings_upload);
    for (part = 0U; part < SETTINGS_READ_PART_COUNT; part++) {
      offset = (uint8_t)(part * SETTINGS_READ_PART_SIZE);
      length = (uint8_t)(SETTINGS_SERIALIZED_SIZE - offset);
      if (length > SETTINGS_READ_PART_SIZE) {
        length = SETTINGS_READ_PART_SIZE;
      }
      memset(read_data, 0, sizeof(read_data));
      memcpy(read_data, &settings_upload[offset], length);
      (void)Bluetooth_SendSettingsPart(part,
                                       Drive4WD_IsPidEnabled(),
                                       read_data,
                                       command->data[1]);
    }
    return;
  }

  if (command->data[0] == BLUETOOTH_SETTINGS_WRITE_PART) {
    part = command->data[1];
    if (part == 0U) {
      settings_upload_parts = 0U;
      memset(settings_upload, 0, sizeof(settings_upload));
    }
    offset = (uint8_t)(part * SETTINGS_WRITE_PART_SIZE);
    length = (uint8_t)(SETTINGS_SERIALIZED_SIZE - offset);
    if (length > SETTINGS_WRITE_PART_SIZE) {
      length = SETTINGS_WRITE_PART_SIZE;
    }
    memcpy(&settings_upload[offset], &command->data[2], length);
    settings_upload_parts |= (uint8_t)(1U << part);
    return;
  }

  if (command->data[0] != BLUETOOTH_SETTINGS_COMMIT) {
    return;
  }

  if (settings_upload_parts !=
      ((1U << SETTINGS_WRITE_PART_COUNT) - 1U)) {
    result = SETTINGS_RESULT_INCOMPLETE;
  } else {
    received_crc = (uint16_t)command->data[2] |
                   ((uint16_t)command->data[3] << 8U);
    expected_crc =
        CalculateSettingsCrc(settings_upload, SETTINGS_SERIALIZED_SIZE);
    if (received_crc != expected_crc) {
      result = SETTINGS_RESULT_CRC;
    } else {
      DeserializeSettings(settings_upload, &settings);
      TeachingStorage_GetSettings(&previous);
      calibrations_changed =
          (uint8_t)(memcmp(settings.servo_pulse_us,
                           previous.servo_pulse_us,
                           sizeof(settings.servo_pulse_us)) != 0);
      pid_changed =
          (uint8_t)((settings.pid_kp_milli != previous.pid_kp_milli) ||
                    (settings.pid_ki_milli != previous.pid_ki_milli) ||
                     (settings.pid_kd_milli != previous.pid_kd_milli));
      travel_pose_valid = 1U;
      for (travel_joint = 0U;
           travel_joint < ROBOT_SETTINGS_TRAVEL_JOINT_COUNT;
           travel_joint++) {
        if (settings.travel_pose_angles[travel_joint] > 180U) {
          travel_pose_valid = 0U;
          break;
        }
      }

      if ((settings.pid_kp_milli < 0) ||
          (settings.pid_kp_milli > PID_KP_MAX_MILLI) ||
          ((settings.pid_kp_milli % PID_KP_STEP_MILLI) != 0L) ||
          (settings.pid_ki_milli < 0) ||
          (settings.pid_ki_milli > PID_GAIN_MAX_MILLI) ||
          (settings.pid_kd_milli < 0) ||
          (settings.pid_kd_milli > PID_GAIN_MAX_MILLI)) {
        result = SETTINGS_RESULT_PID_INVALID;
      } else if (travel_pose_valid == 0U) {
        result = SETTINGS_RESULT_INVALID;
      } else if ((pid_changed != 0U) &&
                 (Drive4WD_IsPidEnabled() != 0U)) {
        result = SETTINGS_RESULT_PID_ACTIVE;
      } else {
        arm_result = ROBOT_ARM_OK;
        if (calibrations_changed != 0U) {
          arm_result =
              RobotArm_SetCalibrations(settings.servo_pulse_us);
        }

        if (arm_result != ROBOT_ARM_OK) {
          result = SETTINGS_RESULT_INVALID;
        } else {
          Drive4WD_SetStorageInhibit(1U);
          status = HAL_ERROR;
          if (osMutexAcquire(flashMutexHandle, osWaitForever) == osOK) {
            status = TeachingStorage_SaveSettings(&settings);
            (void)osMutexRelease(flashMutexHandle);
          }
          Drive4WD_SetStorageInhibit(0U);

          if (status == HAL_OK) {
            (void)Drive4WD_SetPidGains(settings.pid_kp_milli,
                                       settings.pid_ki_milli,
                                       settings.pid_kd_milli);
            result = SETTINGS_RESULT_OK;
          } else {
            result = SETTINGS_RESULT_FLASH;
            if (calibrations_changed != 0U) {
              (void)RobotArm_SetCalibrations(previous.servo_pulse_us);
            }
          }
        }
      }
    }
  }

  settings_upload_parts = 0U;
  (void)Bluetooth_SendSettingsAck(
      (uint8_t)(result == SETTINGS_RESULT_OK),
      result,
      Drive4WD_IsPidEnabled());
}

/* USER CODE END Application */
